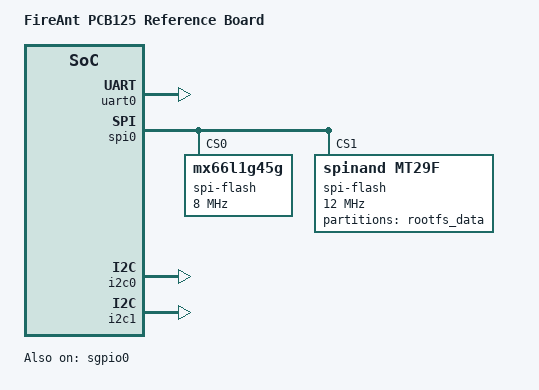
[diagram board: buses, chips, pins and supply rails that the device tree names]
// SPDX-License-Identifier: (GPL-2.0+ OR MIT)
/*
 * Copyright (c) 2018 Microsemi Corporation
  */

/dts-v1/;
#include "fireant-soc.dtsi"

/ {
	model = "FireAnt PCB125 Reference Board";
	compatible = "mscc,fireant-pcb125", "mscc,fireant";

};

&uart0 {
        status = "okay";
};

&spi0 {
	status = "okay";
	spi-flash@0 {
		compatible = "mx66l1g45g", "jedec,spi-nor", "spi-flash";
		spi-max-frequency = <8000000>; /* input clock */
		reg = <0>; /* CS0 */
	};
        spi-flash@1 {
		compatible = "spinand,mt29f";
		pinctrl-0 = <&cs1_pins>;
		pinctrl-names = "default";
		spi-max-frequency = <12000000>;
		reg = <1>; /* CS1 */
		partitions {
			compatible = "fixed-partitions";
			#address-cells = <1>;
			#size-cells = <1>;
			/* 128MiB */
			partition@0 {
				label = "rootfs_data";
				reg = <0x0000000 0x8000000>;
			};
		};
	};
};

&sgpio0 {
	status = "okay";
	mscc,sgpio-ports = <0x00FFFFFF>;
};

&i2c0 {
	status = "okay";
};

&i2c1 {
	status = "okay";
};
